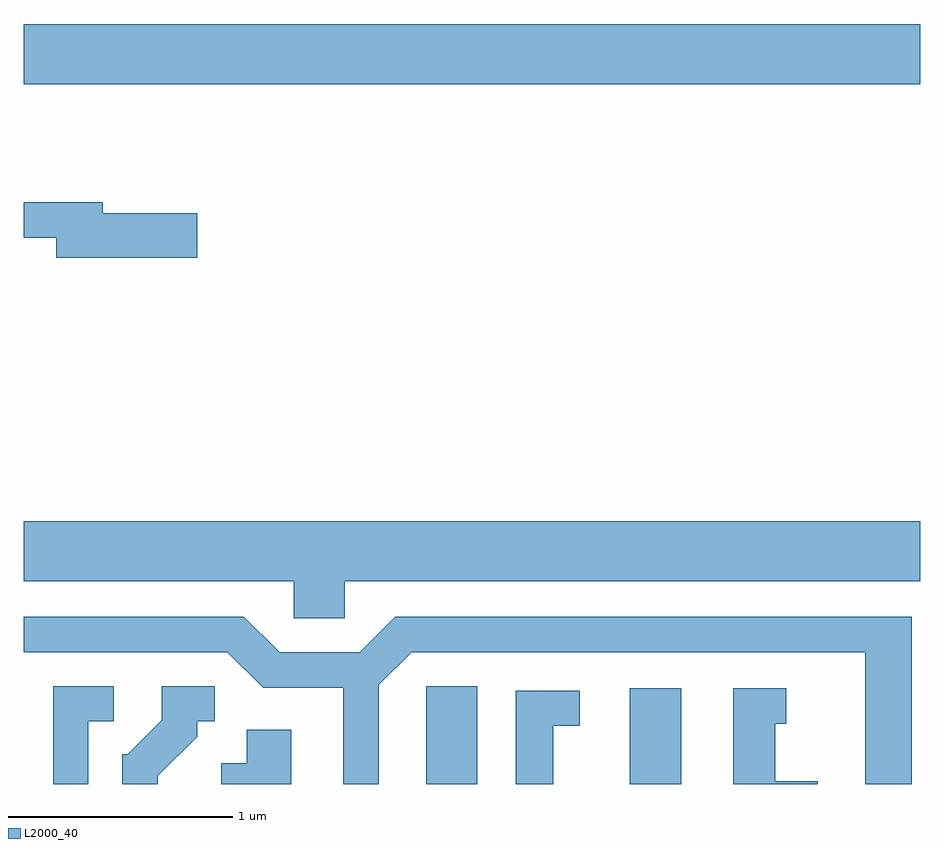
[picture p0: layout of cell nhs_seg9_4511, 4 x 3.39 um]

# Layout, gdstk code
import gdstk
lib = gdstk.Library(unit=1e-6, precision=1e-09)
def R(c, l, rs):  # rectangles x0, y0, x1, y1
    for r in rs: c.add(gdstk.rectangle(r[:2], r[2:], *l))
def P(c, l, *ps):  # polygons
    for p in ps: c.add(gdstk.Polygon(p, *l))
L2000_40 = (2000, 40)

nhs_seg9_4511 = lib.new_cell('nhs_seg9_4511')
R(nhs_seg9_4511, L2000_40, [(319.406,2026.432,319.634,2026.869), (320.316,2026.432,320.544,2026.859), (317.611,2029.556,321.611,2029.824)])
P(nhs_seg9_4511, L2000_40, [(318.384,2028.979),(317.964,2028.979),(317.964,2029.029),(317.611,2029.029),(317.611,2028.871),(317.756,2028.871),(317.756,2028.781),(318.384,2028.781)],
  [(319.044,2027.336),(321.611,2027.336),(321.611,2027.604),(317.611,2027.604),(317.611,2027.336),(318.816,2027.336),(318.816,2027.171),(319.044,2027.171)],
  [(319.194,2026.874),(319.342,2027.021),(321.366,2027.021),(321.366,2026.432),(321.574,2026.432),(321.574,2027.179),(319.269,2027.179),(319.109,2027.019),(318.752,2027.019),(318.592,2027.179),(317.611,2027.179),(317.611,2027.021),(318.519,2027.021),(318.679,2026.861),(319.036,2026.861),(319.036,2026.432),(319.194,2026.432)],
  [(318.209,2026.469),(318.384,2026.644),(318.384,2026.711),(318.463,2026.711),(318.463,2026.869),(318.226,2026.869),(318.226,2026.717),(318.074,2026.564),(318.051,2026.564),(318.051,2026.432),(318.209,2026.432)],
  [(317.899,2026.711),(318.013,2026.711),(318.013,2026.869),(317.741,2026.869),(317.741,2026.432),(317.899,2026.432)],
  [(321.154,2026.444),(320.964,2026.444),(320.964,2026.701),(321.013,2026.701),(321.013,2026.859),(320.776,2026.859),(320.776,2026.432),(321.154,2026.432)],
  [(319.974,2026.691),(320.093,2026.691),(320.093,2026.849),(319.806,2026.849),(319.806,2026.432),(319.974,2026.432)],
  [(318.804,2026.674),(318.606,2026.674),(318.606,2026.524),(318.491,2026.524),(318.491,2026.432),(318.804,2026.432)])

lib.write_gds('nhs_seg9_4511.gds')
